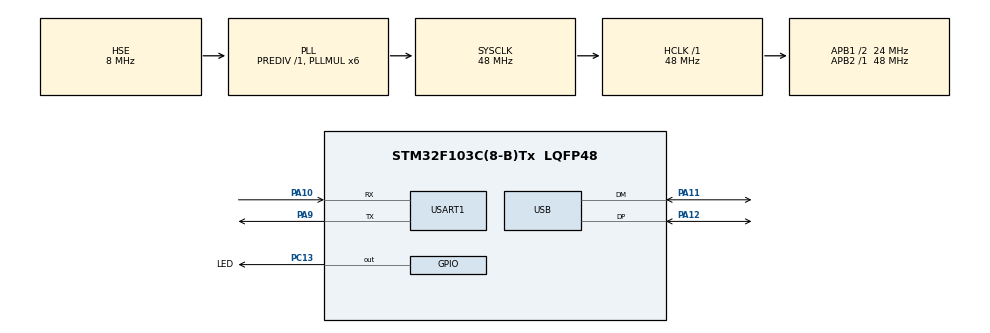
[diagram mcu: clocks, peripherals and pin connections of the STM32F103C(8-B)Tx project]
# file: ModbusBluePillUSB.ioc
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FREERTOS.Tasks01=defaultTask,8,128,StartDefaultTask,Default,NULL,Dynamic,NULL,NULL;myTaskSlave,40,128,StartTaskSlave,Default,NULL,Dynamic,NULL,NULL
FREERTOS.configTOTAL_HEAP_SIZE=4096
Mcu.Family=STM32F1
Mcu.Name=STM32F103C(8-B)Tx
Mcu.Package=LQFP48
NVIC.PriorityGroup=NVIC_PRIORITYGROUP_4
NVIC.TIM4_IRQn=true\:0\:0\:false\:false\:true\:false\:false\:true
NVIC.TimeBase=TIM4_IRQn
NVIC.TimeBaseIP=TIM4
NVIC.USART1_IRQn=true\:5\:0\:true\:false\:true\:true\:true\:true
NVIC.USB_LP_CAN1_RX0_IRQn=true\:5\:0\:false\:false\:true\:true\:false\:true
PA10.Mode=Asynchronous
PA10.Signal=USART1_RX
PA11.Mode=Device
PA11.Signal=USB_DM
PA12.Mode=Device
PA12.Signal=USB_DP
PA13.Mode=Serial_Wire
PA13.Signal=SYS_JTMS-SWDIO
PA14.Mode=Serial_Wire
PA14.Signal=SYS_JTCK-SWCLK
PA9.Mode=Asynchronous
PA9.Signal=USART1_TX
PC13-TAMPER-RTC.GPIO_Label=LED
PC13-TAMPER-RTC.Signal=GPIO_Output
PD0-OSC_IN.Mode=HSE-External-Oscillator
PD0-OSC_IN.Signal=RCC_OSC_IN
PD1-OSC_OUT.Mode=HSE-External-Oscillator
PD1-OSC_OUT.Signal=RCC_OSC_OUT
ProjectManager.HeapSize=0x200
ProjectManager.StackSize=0x400
ProjectManager.TargetToolchain=STM32CubeIDE
RCC.AHBFreq_Value=48000000
RCC.APB1CLKDivider=RCC_HCLK_DIV2
RCC.APB1Freq_Value=24000000
RCC.APB1TimFreq_Value=48000000
RCC.APB2Freq_Value=48000000
RCC.APB2TimFreq_Value=48000000
RCC.HCLKFreq_Value=48000000
RCC.PLLMUL=RCC_PLL_MUL6
RCC.PLLSourceVirtual=RCC_PLLSOURCE_HSE
RCC.SYSCLKFreq_VALUE=48000000
RCC.SYSCLKSource=RCC_SYSCLKSOURCE_PLLCLK
RCC.USBFreq_Value=48000000
USART1.VirtualMode=VM_ASYNC
USB_DEVICE.APP_RX_DATA_SIZE=256
USB_DEVICE.APP_TX_DATA_SIZE=256
USB_DEVICE.CLASS_NAME_FS=CDC
USB_DEVICE.VirtualMode=Cdc
USB_DEVICE.VirtualModeFS=Cdc_FS
VP_FREERTOS_VS_CMSIS_V2.Mode=CMSIS_V2
VP_SYS_VS_tim4.Mode=TIM4
VP_USB_DEVICE_VS_USB_DEVICE_CDC_FS.Mode=CDC_FS
board=custom

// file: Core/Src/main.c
/* USER CODE BEGIN Header */
/**
  ******************************************************************************
  * @file           : main.c
  * @brief          : Main program body
  ******************************************************************************
  * @attention
  *
  * <h2><center>&copy; Copyright (c) 2021 STMicroelectronics.
  * All rights reserved.</center></h2>
  *
  * This software component is licensed by ST under BSD 3-Clause license,
  * the "License"; You may not use this file except in compliance with the
  * License. You may obtain a copy of the License at:
  *                        opensource.org/licenses/BSD-3-Clause
  *
  ******************************************************************************
  */
/* USER CODE END Header */
#include "main.h"
#include "cmsis_os.h"
#include "usart.h"
#include "usb_device.h"
#include "gpio.h"

/* USER CODE BEGIN Includes */
//#include "Modbus.h"
/* USER CODE END Includes */

/* USER CODE BEGIN PV */
modbusHandler_t ModbusH;
modbusHandler_t ModbusUSB;
uint16_t ModbusDATA[8];
uint16_t ModbusDATAusb[16];
/* USER CODE END PV */

void SystemClock_Config(void);
void MX_FREERTOS_Init(void);

int main(void)
{

  /* MCU Configuration--------------------------------------------------------*/

  /* Reset of all peripherals, Initializes the Flash interface and the Systick. */
  HAL_Init();

  /* Configure the system clock */
  SystemClock_Config();

  /* Initialize all configured peripherals */
  MX_GPIO_Init();
  MX_USART1_UART_Init();
  /* USER CODE BEGIN 2 */

  ModbusH.uModbusType = MB_SLAVE;
  ModbusH.port =  &huart1;
  ModbusH.u8id = 17; //Modbus slave ID
  ModbusH.u16timeOut = 1000;
  ModbusH.EN_Port = NULL;
  ModbusH.u16regs = ModbusDATA;
  ModbusH.u16regsize= sizeof(ModbusDATA)/sizeof(ModbusDATA[0]);
  ModbusH.xTypeHW = USART_HW;
  //Initialize Modbus library
  ModbusInit(&ModbusH);
  //Start capturing traffic on serial Port
  ModbusStart(&ModbusH);

#if ENABLE_USB_CDC ==1

#if SLAVE_EX == 1
  ModbusUSB.uModbusType = MB_SLAVE;
  ModbusUSB.u8id = 10; //Modbus slave ID
#else
  ModbusUSB.uModbusType = MB_MASTER;
  ModbusUSB.u8id = 0; //Modbus master ID must be 0
#endif
  ModbusUSB.port =  NULL;

  ModbusUSB.u16timeOut = 1000;
  ModbusUSB.EN_Port = NULL;
  ModbusUSB.u16regs = ModbusDATAusb;
  ModbusUSB.u16regsize= sizeof(ModbusDATAusb)/sizeof(ModbusDATAusb[0]);
  ModbusUSB.xTypeHW = USB_CDC_HW;
  //Initialize Modbus library
  ModbusInit(&ModbusUSB);
  //Start capturing traffic on serial Port
  ModbusStartCDC(&ModbusUSB);
  /* USER CODE END 2 */

#endif

  /* Init scheduler */
  osKernelInitialize();  /* Call init function for freertos objects (in freertos.c) */
  MX_FREERTOS_Init();
  /* Start scheduler */
  osKernelStart();

  /* We should never get here as control is now taken by the scheduler */
  /* Infinite loop */
  while (1)
  {

  }
}

void SystemClock_Config(void)
{
  RCC_OscInitTypeDef RCC_OscInitStruct = {0};
  RCC_ClkInitTypeDef RCC_ClkInitStruct = {0};
  RCC_PeriphCLKInitTypeDef PeriphClkInit = {0};

  /** Initializes the RCC Oscillators according to the specified parameters
  * in the RCC_OscInitTypeDef structure.
  */
  RCC_OscInitStruct.OscillatorType = RCC_OSCILLATORTYPE_HSE;
  RCC_OscInitStruct.HSEState = RCC_HSE_ON;
  RCC_OscInitStruct.HSEPredivValue = RCC_HSE_PREDIV_DIV1;
  RCC_OscInitStruct.HSIState = RCC_HSI_ON;
  RCC_OscInitStruct.PLL.PLLState = RCC_PLL_ON;
  RCC_OscInitStruct.PLL.PLLSource = RCC_PLLSOURCE_HSE;
  RCC_OscInitStruct.PLL.PLLMUL = RCC_PLL_MUL6;
  if (HAL_RCC_OscConfig(&RCC_OscInitStruct) != HAL_OK)
  {
    Error_Handler();
  }
  /** Initializes the CPU, AHB and APB buses clocks
  */
  RCC_ClkInitStruct.ClockType = RCC_CLOCKTYPE_HCLK|RCC_CLOCKTYPE_SYSCLK
                              |RCC_CLOCKTYPE_PCLK1|RCC_CLOCKTYPE_PCLK2;
  RCC_ClkInitStruct.SYSCLKSource = RCC_SYSCLKSOURCE_PLLCLK;
  RCC_ClkInitStruct.AHBCLKDivider = RCC_SYSCLK_DIV1;
  RCC_ClkInitStruct.APB1CLKDivider = RCC_HCLK_DIV2;
  RCC_ClkInitStruct.APB2CLKDivider = RCC_HCLK_DIV1;

  if (HAL_RCC_ClockConfig(&RCC_ClkInitStruct, FLASH_LATENCY_1) != HAL_OK)
  {
    Error_Handler();
  }
  PeriphClkInit.PeriphClockSelection = RCC_PERIPHCLK_USB;
  PeriphClkInit.UsbClockSelection = RCC_USBCLKSOURCE_PLL;
  if (HAL_RCCEx_PeriphCLKConfig(&PeriphClkInit) != HAL_OK)
  {
    Error_Handler();
  }
}

 /**
  * @brief  Period elapsed callback in non blocking mode
  * @note   This function is called  when TIM4 interrupt took place, inside
  * HAL_TIM_IRQHandler(). It makes a direct call to HAL_IncTick() to increment
  * a global variable "uwTick" used as application time base.
  * @param  htim : TIM handle
  * @retval None
  */
void HAL_TIM_PeriodElapsedCallback(TIM_HandleTypeDef *htim)
{
  if (htim->Instance == TIM4) {
    HAL_IncTick();
  }
}

void Error_Handler(void)
{
  __disable_irq();
  while (1)
  {
  }
}

/************************ (C) COPYRIGHT STMicroelectronics *****END OF FILE****/

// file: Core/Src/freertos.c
/* USER CODE BEGIN Header */
/**
  ******************************************************************************
  * File Name          : freertos.c
  * Description        : Code for freertos applications
  ******************************************************************************
  * @attention
  *
  * <h2><center>&copy; Copyright (c) 2021 STMicroelectronics.
  * All rights reserved.</center></h2>
  *
  * This software component is licensed by ST under Ultimate Liberty license
  * SLA0044, the "License"; You may not use this file except in compliance with
  * the License. You may obtain a copy of the License at:
  *                             www.st.com/SLA0044
  *
  ******************************************************************************
  */
/* USER CODE END Header */

#include "FreeRTOS.h"
#include "task.h"
#include "main.h"
#include "cmsis_os.h"

/* USER CODE BEGIN Includes */
#include "semphr.h"
#include "usb_device.h"
/* USER CODE END Includes */

/* USER CODE BEGIN PTD */
modbus_t telegram[2];
/* USER CODE END PTD */

/* Definitions for defaultTask */
osThreadId_t defaultTaskHandle;
const osThreadAttr_t defaultTask_attributes = {
  .name = "defaultTask",
  .priority = (osPriority_t) osPriorityLow,
  .stack_size = 128 * 4
};
/* Definitions for myTaskSlave */
osThreadId_t myTaskSlaveHandle;
const osThreadAttr_t myTaskSlave_attributes = {
  .name = "myTaskSlave",
  .priority = (osPriority_t) osPriorityHigh,
  .stack_size = 128 * 4
};

void StartDefaultTask(void *argument);
void StartTaskSlave(void *argument);

extern void MX_USB_DEVICE_Init(void);
void MX_FREERTOS_Init(void); /* (MISRA C 2004 rule 8.1) */

void MX_FREERTOS_Init(void) {

  /* Create the thread(s) */
  /* creation of defaultTask */
  defaultTaskHandle = osThreadNew(StartDefaultTask, NULL, &defaultTask_attributes);

  /* creation of myTaskSlave */
  myTaskSlaveHandle = osThreadNew(StartTaskSlave, NULL, &myTaskSlave_attributes);

}

void StartDefaultTask(void *argument)
{
  /* init code for USB_DEVICE */
  MX_USB_DEVICE_Init();
  /* USER CODE BEGIN StartDefaultTask */
  /* Infinite loop */
  for(;;)
  {

	  osDelay(10);
  }
  /* USER CODE END StartDefaultTask */
}

/* USER CODE BEGIN Header_StartTaskSlave */
extern USBD_HandleTypeDef hUsbDeviceFS;
/**
* @brief Function implementing the myTaskSlave thread.
* @param argument: Not used
* @retval None
*/
/* USER CODE END Header_StartTaskSlave */
void StartTaskSlave(void *argument)
{
  /* USER CODE BEGIN StartTaskSlave */

#if SLAVE_EX == 0
	  uint32_t u32NotificationValue;
	  telegram[0].u8id = 17; // slave address
	  telegram[0].u8fct = MB_FC_WRITE_REGISTER; // function code (this one is registers read)
	  telegram[0].u16RegAdd = 0x0; // start address in slave
	  telegram[0].u16CoilsNo = 1; // number of elements (coils or registers) to read
	  telegram[0].u16reg = ModbusDATAusb; // pointer to a memory array

	  telegram[1].u8id = 17; // slave address
	  telegram[1].u8fct = MB_FC_READ_REGISTERS; // function code (this one is registers read)
	  telegram[1].u16RegAdd = 0x1; // start address in slave
	  telegram[1].u16CoilsNo = 1; // number of elements (coils or registers) to read
	  telegram[1].u16reg = ModbusDATAusb; // pointer to a memory array
	  ModbusDATAusb[0] =1;

#endif

  /* Infinite loop */
  for(;;)
  {

#if SLAVE_EX == 1
	  /**** Slave example CDC ***/
	  xSemaphoreTake(ModbusUSB.ModBusSphrHandle , 100);
	  HAL_GPIO_WritePin(LED_GPIO_Port, LED_Pin, ModbusUSB.u16regs[0] & 0x1);
	  xSemaphoreGive(ModbusUSB.ModBusSphrHandle);

#else
	  /**** Master example CDC ***/
	  if( hUsbDeviceFS.dev_state == USBD_STATE_CONFIGURED)
	  {
	     ModbusQuery(&ModbusUSB, telegram[1]); // make a query
	     u32NotificationValue = ulTaskNotifyTake(pdTRUE, portMAX_DELAY); // block until query finishes
	     if(u32NotificationValue)
	     {
	  		//handle error
	  		//  while(1);
	     }

	     osDelay(300);

	     ModbusDATAusb[0] = ModbusDATAusb[0] + 1;
	     ModbusQuery(&ModbusUSB, telegram[0]); // make a query
	     u32NotificationValue = ulTaskNotifyTake(pdTRUE, portMAX_DELAY); // block until query finishes

	     if(u32NotificationValue)
	     {
	    	  		//handle error
	    	  		//  while(1);
	     }

	  }
	  /**** End of master example***/
#endif

	  osDelay(300);
  }
  /* USER CODE END StartTaskSlave */
}

/************************ (C) COPYRIGHT STMicroelectronics *****END OF FILE****/
